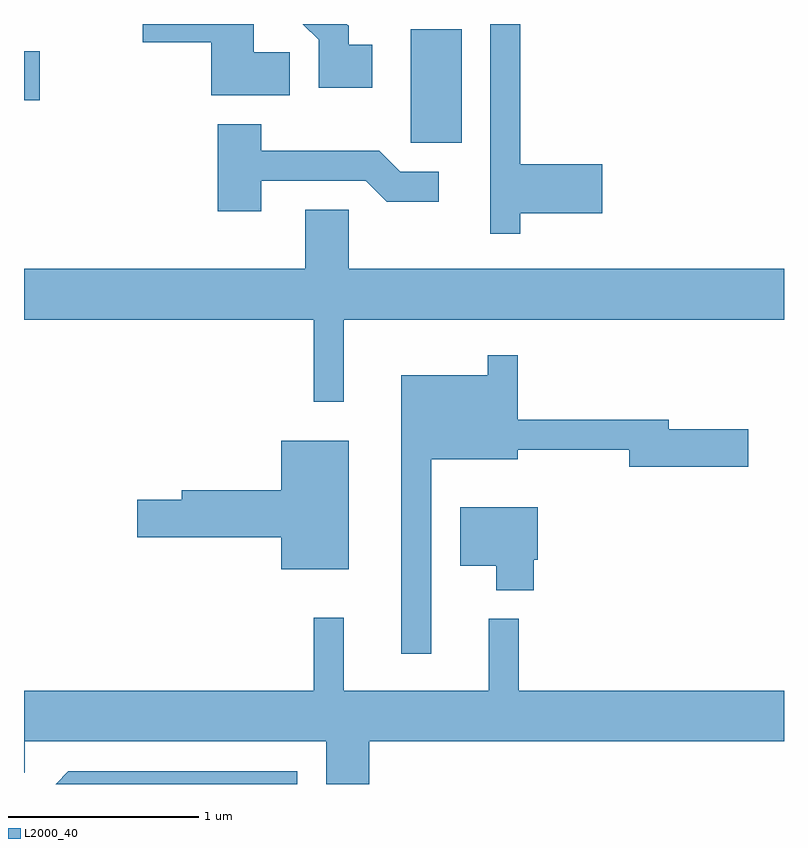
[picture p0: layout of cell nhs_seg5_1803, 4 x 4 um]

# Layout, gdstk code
import gdstk
lib = gdstk.Library(unit=1e-6, precision=1e-09)
def R(c, l, rs):  # rectangles x0, y0, x1, y1
    for r in rs: c.add(gdstk.rectangle(r[:2], r[2:], *l))
def P(c, l, *ps):  # polygons
    for p in ps: c.add(gdstk.Polygon(p, *l))
L2000_40 = (2000, 40)

nhs_seg5_1803 = lib.new_cell('nhs_seg5_1803')
R(nhs_seg5_1803, L2000_40, [(239.646,1515.446,239.914,1516.044), (237.611,1515.671,237.694,1515.929)])
P(nhs_seg5_1803, L2000_40, [(240.224,1515.076),(240.654,1515.076),(240.654,1515.334),(240.224,1515.334),(240.224,1516.072),(240.066,1516.072),(240.066,1514.968),(240.224,1514.968)],
  [(239.444,1515.964),(239.319,1515.964),(239.319,1516.062),(239.309,1516.072),(239.078,1516.072),(239.161,1515.989),(239.161,1515.736),(239.444,1515.736)],
  [(239.009,1515.924),(238.819,1515.924),(238.819,1516.072),(238.236,1516.072),(238.236,1515.976),(238.596,1515.976),(238.596,1515.696),(239.009,1515.696)],
  [(238.859,1515.246),(239.409,1515.246),(239.519,1515.136),(239.793,1515.136),(239.793,1515.294),(239.592,1515.294),(239.482,1515.404),(238.859,1515.404),(238.859,1515.544),(238.631,1515.544),(238.631,1515.086),(238.859,1515.086)],
  [(239.091,1514.784),(237.611,1514.784),(237.611,1514.516),(239.136,1514.516),(239.136,1514.083),(239.294,1514.083),(239.294,1514.516),(241.611,1514.516),(241.611,1514.784),(239.319,1514.784),(239.319,1515.094),(239.091,1515.094)],
  [(239.754,1513.781),(240.209,1513.781),(240.209,1513.831),(240.796,1513.831),(240.796,1513.741),(241.424,1513.741),(241.424,1513.939),(241.004,1513.939),(241.004,1513.989),(240.209,1513.989),(240.209,1514.328),(240.051,1514.328),(240.051,1514.224),(239.596,1514.224),(239.596,1512.758),(239.754,1512.758)],
  [(239.319,1513.879),(238.966,1513.879),(238.966,1513.619),(238.441,1513.619),(238.441,1513.569),(238.206,1513.569),(238.206,1513.371),(238.966,1513.371),(238.966,1513.201),(239.319,1513.201)],
  [(240.294,1513.251),(240.314,1513.251),(240.314,1513.529),(239.906,1513.529),(239.906,1513.221),(240.096,1513.221),(240.096,1513.091),(240.294,1513.091)],
  [(239.201,1512.072),(239.429,1512.072),(239.429,1512.296),(241.611,1512.296),(241.611,1512.564),(240.214,1512.564),(240.214,1512.943),(240.056,1512.943),(240.056,1512.564),(239.294,1512.564),(239.294,1512.948),(239.136,1512.948),(239.136,1512.564),(237.611,1512.564),(237.611,1512.131),(237.614,1512.131),(237.614,1512.296),(239.201,1512.296)],
  [(239.049,1512.139),(237.844,1512.139),(237.777,1512.072),(239.049,1512.072)])

lib.write_gds('nhs_seg5_1803.gds')
